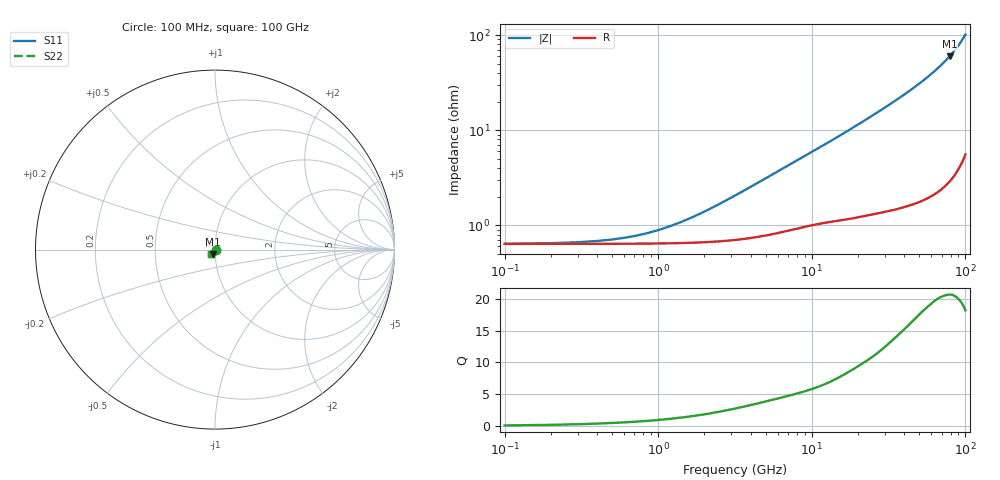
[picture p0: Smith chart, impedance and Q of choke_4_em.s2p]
#  Hz  S  RI  R  50
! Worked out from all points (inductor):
!   1000 points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, 100 MHz to 100 GHz, reference 50 ohm
!   read as 1/Y11, port 2 shorted: L = 95.7 pH near 3.6 GHz
!   highest Q = 20.7 at 78.9 GHz (marker M1), where L = 120 pH
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1e8  0.00635 2.59e-05  0.9937 -0.00119  0.9937 -0.00119  0.0064 2.14e-05
7e8  0.00638 0.000179  0.9936 -0.00833  0.9937 -0.00836  0.00643 0.000148
1.2e9  0.00645 0.0003  0.9935 -0.0143  0.9935 -0.0143  0.00649 0.000246
2.4e9  0.00673 0.000533  0.9929 -0.0285  0.9929 -0.0286  0.00675 0.000433
3.6e9  0.00716 0.000644  0.992 -0.0425  0.9919 -0.0426  0.00714 0.00051
6.8e9  0.00858 0.000164  0.9882 -0.0791  0.9882 -0.0793  0.00848 3.42e-06
8.1e9  0.00911 -0.00033  0.9864 -0.0936  0.9863 -0.0938  0.009 -0.000488
9.5e9  0.00958 -0.000992  0.9843 -0.1091  0.9842 -0.1093  0.00946 -0.00115
1.1e10  0.00994 -0.00179  0.9819 -0.1256  0.9818 -0.1258  0.00982 -0.00196
1.26e10  0.0102 -0.00267  0.9791 -0.1431  0.9791 -0.1433  0.0101 -0.00287
1.68e10  0.0104 -0.0049  0.9706 -0.189  0.9705 -0.1893  0.0102 -0.0052
2.52e10  0.00989 -0.00918  0.9473 -0.2792  0.9471 -0.2796  0.00949 -0.00955
3.34e10  0.00831 -0.0132  0.9169 -0.3648  0.9167 -0.3653  0.0077 -0.0136
4.18e10  0.0059 -0.0169  0.8779 -0.4491  0.8776 -0.4497  0.00498 -0.0173
5.01e10  0.00279 -0.02  0.8319 -0.5285  0.8314 -0.5291  0.00157 -0.0203
5.84e10  -0.000848 -0.0225  0.7787 -0.6031  0.7781 -0.6039  -0.00237 -0.0226
6.67e10  -0.00495 -0.0243  0.7189 -0.6726  0.7181 -0.6733  -0.00671 -0.0242
7.28e10  -0.00812 -0.0251  0.671 -0.7199  0.6701 -0.7206  -0.0101 -0.0248
7.89e10  -0.0114 -0.0255  0.62 -0.7638  0.619 -0.7646  -0.0134 -0.025
8.34e10  -0.0139 -0.0255  0.5806 -0.794  0.5794 -0.7947  -0.016 -0.0248
9.25e10  -0.0189 -0.0248  0.4965 -0.8484  0.4952 -0.8493  -0.0209 -0.0237
1e11  -0.0229 -0.0234  0.4233 -0.887  0.4217 -0.8873  -0.0249 -0.0223
